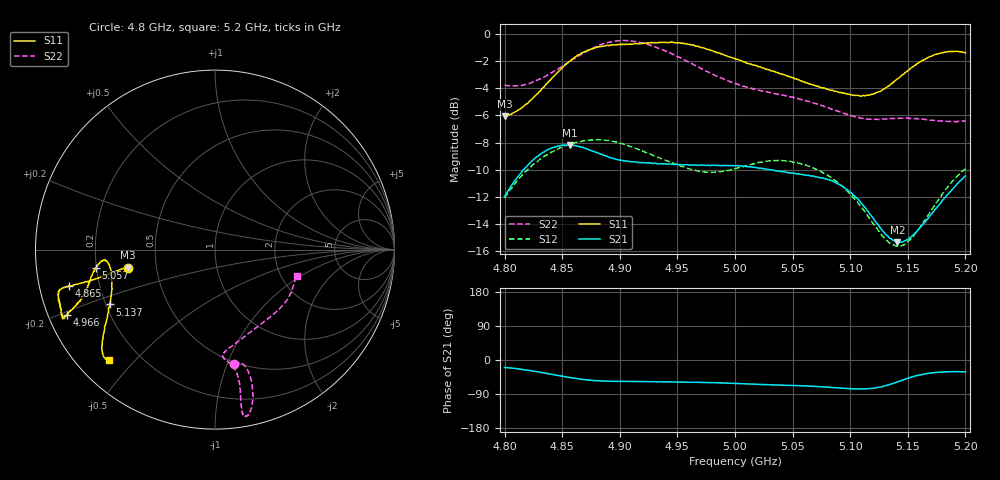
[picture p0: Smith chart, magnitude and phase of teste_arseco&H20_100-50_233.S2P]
! Network Analyzer HP8722D
! Hewlett-Packard
! Data name: Linha & Wilkinson
! Saver's name: Rodrigo Anjos
! Comments: Teste da utilização de aquisição
! continua pelo VNA HP8722D
! Time and date: 6/5/2025 14:30
!  Frequency  S11  S21  S12  S22
# HZ  S  MA R 50
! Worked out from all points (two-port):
!   401 points, 4.8 GHz to 5.2 GHz, reference 50 ohm
!   highest |S21| = -8.16 dB at 4.857 GHz (marker M1); lowest = -15.3 dB at 5.141 GHz (marker M2)
!   |S21| within 3 dB of the highest: 4.806 GHz to 5.092 GHz (286.4 MHz wide, 5.79 % of centre); 5.191714 GHz to end of sweep
!   lowest |S11| = -6.1 dB at 4.8 GHz (marker M3), VSWR 2.97, Z = 17 - j4.56 ohm
!   |S11| at or under -10 dB: nowhere
!   |S22| runs from -6.5 to -0.5 dB; largest |S21 - S12| = 0.62
!   S11 on the Smith chart (normalised r, x): 4.8 GHz: 0.34, -0.09; 4.865 GHz: 0.09, -0.12; 4.966 GHz: 0.05, -0.21; 5.057 GHz: 0.20, -0.07; 5.137 GHz: 0.22, -0.23; 5.2 GHz: 0.09, -0.42
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4.8e9  0.4967 -168.2  0.2526 -19.8  0.2493 -141.0  0.6479 -80.4
4.828e9  0.6002 -167.1  0.3536 -30.7  0.3378 -144.9  0.6748 -75.5
4.857e9  0.7956 -166.0  0.3907 -46.4  0.3918 -150.3  0.7938 -74.8
4.865e9  0.8402 -166.2  0.3853 -50.1  0.4009 -151.8  0.8329 -75.4
4.867e9  0.8508 -165.8  0.3831 -50.9  0.4032 -152.0  0.8423 -75.4
4.881e9  0.8956 -165.3  0.3648 -54.7  0.4086 -154.4  0.9027 -77.0
4.901e9  0.9153 -162.5  0.343 -56.4  0.3955 -156.7  0.9447 -79.3
4.934e9  0.9302 -156.6  0.333 -57.5  0.3509 -155.7  0.883 -80.5
4.966e9  0.901 -156.2  0.3291 -58.8  0.3142 -148.4  0.7624 -79.6
5e9  0.8098 -159.1  0.3275 -61.9  0.3193 -137.2  0.6565 -81.3
5.033e9  0.7274 -164.9  0.3158 -65.6  0.3419 -134.5  0.6054 -85.5
5.057e9  0.6716 -171.1  0.3045 -68.0  0.3333 -136.0  0.5749 -84.7
5.067e9  0.6503 -173.1  0.3002 -69.3  0.3226 -136.8  0.559 -82.7
5.085e9  0.6195 -174.4  0.2871 -72.7  0.2931 -138.4  0.5281 -75.7
5.103e9  0.5953 -171.6  0.2547 -76.2  0.2496 -138.7  0.4971 -65.2
5.117e9  0.5958 -164.9  0.2174 -75.4  0.2091 -135.0  0.4857 -55.1
5.134e9  0.6463 -154.3  0.1777 -65.2  0.1702 -120.6  0.4863 -43.3
5.137e9  0.6601 -152.4  0.1742 -62.1  0.1677 -116.7  0.4884 -41.5
5.141e9  0.6829 -150.3  0.1713 -57.8  0.1659 -111.7  0.4887 -39.0
5.153e9  0.7505 -145.1  0.1793 -45.2  0.1768 -96.2  0.4893 -32.8
5.172e9  0.8336 -139.1  0.2211 -33.6  0.2295 -81.1  0.4806 -24.6
5.2e9  0.8522 -133.6  0.3006 -31.3  0.3196 -77.1  0.4778 -17.6
